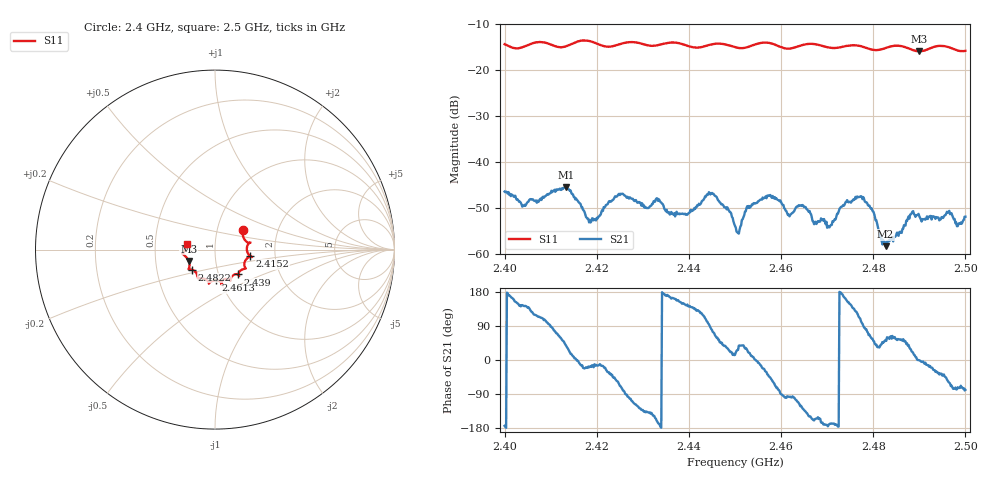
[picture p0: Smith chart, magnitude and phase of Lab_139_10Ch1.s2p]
# Hz S RI R 50
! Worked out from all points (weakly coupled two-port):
!   601 points, 2.4 GHz to 2.5 GHz, reference 50 ohm
!   highest |S21| = -45.45 dB at 2.4133 GHz (marker M1); lowest = -58.3 dB at 2.4827 GHz (marker M2)
!   lowest |S11| = -15.9 dB at 2.49 GHz (marker M3), VSWR 1.38, Z = 36.9 - j4.83 ohm
!   |S11| at or under -10 dB: start of sweep to end of sweep
!   S12 and S22 are empty: the file has one direction only
!   S11 on the Smith chart (normalised r, x): 2.4 GHz: 1.33, +0.31; 2.4152 GHz: 1.48, -0.11; 2.439 GHz: 1.24, -0.36; 2.4613 GHz: 0.96, -0.34; 2.4822 GHz: 0.76, -0.17; 2.5 GHz: 0.73, +0.05
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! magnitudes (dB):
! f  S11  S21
! 2.4 GHz  -14.4  -46.4
! 2.4042 GHz  -14.9  -49.5
! 2.4133 GHz  -14.8  -45.4
! 2.4152 GHz  -14.1  -47.6
! 2.4167 GHz  -13.6  -49.8
! 2.4188 GHz  -13.8  -52.9
! 2.4252 GHz  -14.3  -46.9
! 2.4333 GHz  -14.6  -48.5
! 2.439 GHz  -14.5  -51.3
! 2.4448 GHz  -14.4  -46.8
! 2.45 GHz  -15.0  -53.9
! 2.4572 GHz  -14.1  -47.3
! 2.4613 GHz  -15.3  -51.2
! 2.4643 GHz  -14.6  -49.4
! 2.4667 GHz  -14.3  -52.0
! 2.4705 GHz  -15.1  -54.2
! 2.4775 GHz  -14.9  -47.5
! 2.4822 GHz  -15.4  -56.9
! 2.4827 GHz  -15.2  -58.3
! 2.4833 GHz  -15.0  -57.1
! 2.49 GHz  -15.9  -51.8
! 2.5 GHz  -15.8  -51.9
